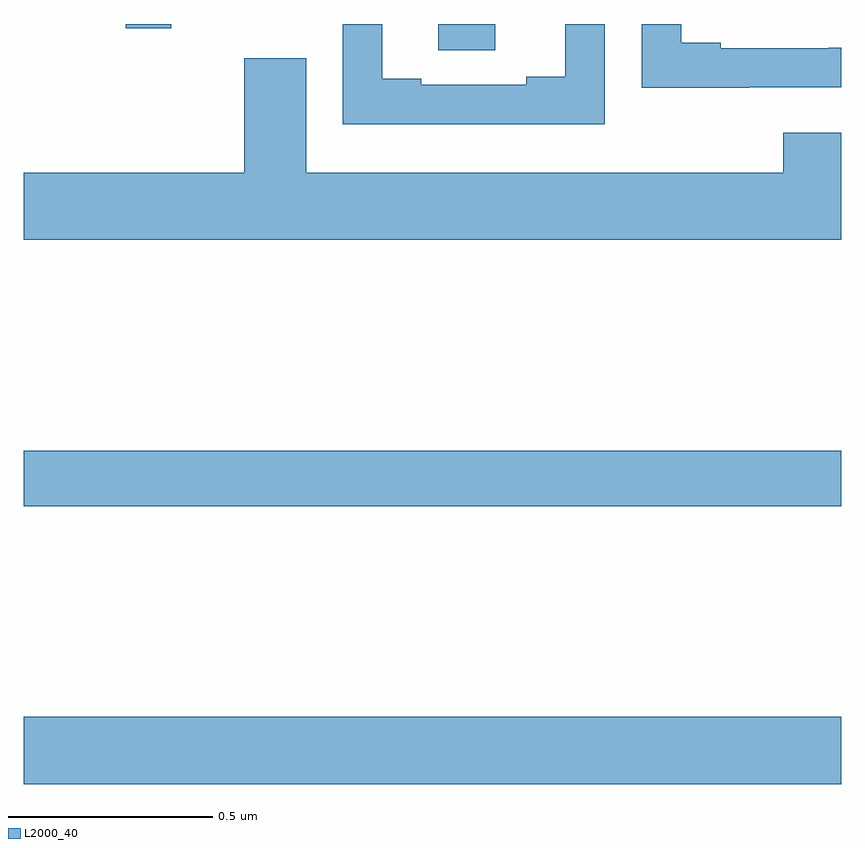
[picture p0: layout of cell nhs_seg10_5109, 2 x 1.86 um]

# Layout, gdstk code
import gdstk
lib = gdstk.Library(unit=1e-6, precision=1e-09)
def R(c, l, rs):  # rectangles x0, y0, x1, y1
    for r in rs: c.add(gdstk.rectangle(r[:2], r[2:], *l))
def P(c, l, *ps):  # polygons
    for p in ps: c.add(gdstk.Polygon(p, *l))
L2000_40 = (2000, 40)

nhs_seg10_5109 = lib.new_cell('nhs_seg10_5109')
R(nhs_seg10_5109, L2000_40, [(174,1309.64,176,1309.804), (174,1310.32,176,1310.456), (175.014,1311.436,175.153,1311.5), (174.249,1311.489,174.361,1311.5)])
P(nhs_seg10_5109, L2000_40, [(175.775,1311.345),(176,1311.345),(176,1311.442),(175.97,1311.442),(175.97,1311.441),(175.705,1311.441),(175.705,1311.454),(175.609,1311.454),(175.609,1311.5),(175.512,1311.5),(175.512,1311.344),(175.775,1311.344)],
  [(175.422,1311.5),(175.325,1311.5),(175.325,1311.371),(175.229,1311.371),(175.229,1311.351),(174.973,1311.351),(174.973,1311.366),(174.877,1311.366),(174.877,1311.5),(174.78,1311.5),(174.78,1311.255),(175.422,1311.255)],
  [(176,1311.234),(175.859,1311.234),(175.859,1311.136),(174.691,1311.136),(174.691,1311.416),(174.539,1311.416),(174.539,1311.136),(174,1311.136),(174,1310.972),(176,1310.972)])

lib.write_gds('nhs_seg10_5109.gds')
